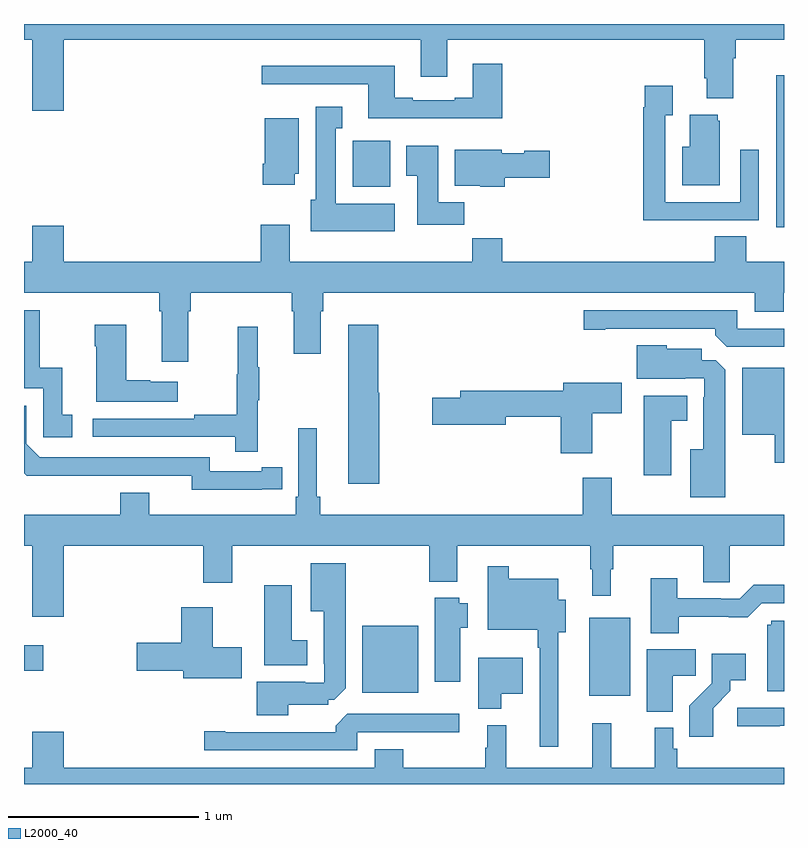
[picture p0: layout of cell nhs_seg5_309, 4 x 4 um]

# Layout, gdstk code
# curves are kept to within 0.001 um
import gdstk
lib = gdstk.Library(unit=1e-6, precision=1e-09)
def R(c, l, rs):  # rectangles x0, y0, x1, y1
    for r in rs: c.add(gdstk.rectangle(r[:2], r[2:], *l))
def P(c, l, *ps):  # polygons
    for p in ps: c.add(gdstk.Polygon(p, *l))
L2000_40 = (2000, 40)

nhs_seg5_309 = lib.new_cell('nhs_seg5_309')
R(nhs_seg5_309, L2000_40, [(131.975,897.263,132.19,897.673), (130.781,897.278,131.074,897.631), (129,897.395,129.102,897.529), (130.73,899.942,130.927,900.184)])
P(nhs_seg5_309, L2000_40, [(129.208,900.716),(131.087,900.716),(131.087,900.522),(131.227,900.522),(131.227,900.716),(132.581,900.716),(132.581,900.514),(132.593,900.514),(132.593,900.407),(132.733,900.407),(132.733,900.62),(132.746,900.62),(132.746,900.716),(133,900.716),(133,900.799),(129,900.799),(129,900.716),(129.044,900.716),(129.044,900.342),(129.208,900.342)],
  [(131.516,900.589),(131.363,900.589),(131.363,900.412),(131.267,900.412),(131.267,900.399),(131.047,900.399),(131.047,900.412),(130.951,900.412),(130.951,900.58),(130.251,900.58),(130.251,900.483),(130.811,900.483),(130.811,900.302),(131.516,900.302)],
  [(133,900.53),(132.958,900.53),(132.958,900.223),(132.96,900.223),(132.96,899.73),(133,899.73)],
  [(132.551,899.766),(132.867,899.766),(132.867,900.136),(132.771,900.136),(132.771,899.862),(132.375,899.862),(132.375,900.319),(132.415,900.319),(132.415,900.475),(132.267,900.475),(132.267,900.362),(132.259,900.362),(132.259,899.765),(132.551,899.765)],
  [(130.951,899.854),(130.642,899.854),(130.642,900.251),(130.675,900.251),(130.675,900.364),(130.535,900.364),(130.535,899.874),(130.508,899.874),(130.508,899.708),(130.951,899.708)],
  [(132.661,900.291),(132.65,900.291),(132.65,900.322),(132.503,900.322),(132.503,900.154),(132.464,900.154),(132.464,899.951),(132.661,899.951)],
  [(130.426,900.012),(130.447,900.012),(130.447,900.304),(130.268,900.304),(130.268,900.064),(130.256,900.064),(130.256,899.952),(130.426,899.952)],
  [(131.318,899.86),(131.179,899.86),(131.179,900.157),(131.012,900.157),(131.012,900.001),(131.069,900.001),(131.069,899.742),(131.318,899.742)],
  [(131.531,899.989),(131.767,899.989),(131.767,900.131),(131.634,900.131),(131.634,900.118),(131.514,900.118),(131.514,900.136),(131.267,900.136),(131.267,899.948),(131.4,899.948),(131.4,899.942),(131.531,899.942)],
  [(129.865,899.288),(129.878,899.288),(129.878,899.384),(130.409,899.384),(130.409,899.288),(130.421,899.288),(130.421,899.064),(130.561,899.064),(130.561,899.288),(130.574,899.288),(130.574,899.384),(132.845,899.384),(132.845,899.285),(132.998,899.285),(132.998,899.384),(133,899.384),(133,899.548),(132.8,899.548),(132.8,899.681),(132.635,899.681),(132.635,899.548),(131.516,899.548),(131.516,899.672),(131.359,899.672),(131.359,899.548),(130.399,899.548),(130.399,899.743),(130.247,899.743),(130.247,899.548),(129.208,899.548),(129.208,899.737),(129.044,899.737),(129.044,899.548),(129,899.548),(129,899.384),(129.713,899.384),(129.713,899.288),(129.725,899.288),(129.725,899.022),(129.865,899.022)],
  [(133,899.196),(132.753,899.196),(132.753,899.292),(131.946,899.292),(131.946,899.191),(132.058,899.191),(132.058,899.196),(132.638,899.196),(132.638,899.162),(132.699,899.1),(133,899.1)],
  [(129.253,898.743),(129.2,898.743),(129.2,898.99),(129.082,898.99),(129.082,899.292),(129,899.292),(129,898.881),(129.102,898.881),(129.102,898.623),(129.253,898.623)],
  [(130.87,898.857),(130.864,898.857),(130.864,899.215),(130.706,899.215),(130.706,898.38),(130.87,898.38)],
  [(129.808,898.915),(129.665,898.915),(129.665,898.925),(129.538,898.925),(129.538,899.215),(129.373,899.215),(129.373,899.102),(129.38,899.102),(129.38,898.811),(129.808,898.811)],
  [(130.229,898.819),(130.239,898.819),(130.239,898.993),(130.229,898.993),(130.229,899.206),(130.126,899.206),(130.126,898.956),(130.119,898.956),(130.119,898.742),(129.895,898.742),(129.895,898.722),(129.363,898.722),(129.363,898.626),(130.111,898.626),(130.111,898.548),(130.229,898.548)],
  [(132.691,898.979),(132.642,899.028),(132.568,899.028),(132.568,899.089),(132.384,899.089),(132.384,899.107),(132.224,899.107),(132.224,898.931),(132.479,898.931),(132.479,898.935),(132.579,898.935),(132.579,898.835),(132.575,898.835),(132.575,898.561),(132.506,898.561),(132.506,898.307),(132.691,898.307)],
  [(133,898.99),(132.779,898.99),(132.779,898.637),(132.95,898.637),(132.95,898.491),(133,898.491)],
  [(131.992,898.75),(132.145,898.75),(132.145,898.912),(131.837,898.912),(131.837,898.868),(131.297,898.868),(131.297,898.832),(131.148,898.832),(131.148,898.69),(131.536,898.69),(131.536,898.732),(131.825,898.732),(131.825,898.539),(131.992,898.539)],
  [(132.406,898.712),(132.49,898.712),(132.49,898.843),(132.263,898.843),(132.263,898.425),(132.406,898.425)],
  [(130.25,898.35),(130.358,898.35),(130.358,898.466),(130.25,898.466),(130.25,898.446),(129.978,898.446),(129.978,898.518),(129.084,898.518),(129.012,898.59),(129.012,898.791),(129,898.791),(129,898.435),(129.014,898.421),(129.882,898.422),(129.882,898.349)],
  [(130.443,898.672),(130.443,898.312),(130.43,898.312),(130.43,898.216),(129.658,898.216),(129.658,898.333),(129.506,898.333),(129.506,898.216),(129,898.216),(129,898.052),(129.044,898.052),(129.044,897.678),(129.208,897.678),(129.208,898.052),(129.944,898.052),(129.944,897.858),(130.096,897.858),(130.096,898.052),(131.134,898.052),(131.134,897.863),(131.281,897.863),(131.281,898.052),(131.979,898.052),(131.979,897.929),(131.99,897.929),(131.99,897.789),(132.089,897.789),(132.089,897.929),(132.1,897.929),(132.1,898.052),(132.575,898.052),(132.575,897.862),(132.714,897.862),(132.714,898.052),(133,898.052),(133,898.216),(132.094,898.216),(132.094,898.411),(131.942,898.411),(131.942,898.216),(130.559,898.216),(130.559,898.312),(130.54,898.312),(130.54,898.672)],
  [(130.39,897.215),(130.602,897.215),(130.602,897.243),(130.633,897.243),(130.693,897.303),(130.693,897.961),(130.508,897.961),(130.508,897.707),(130.577,897.707),(130.577,897.433),(130.581,897.433),(130.581,897.333),(130.481,897.333),(130.481,897.337),(130.226,897.337),(130.226,897.161),(130.39,897.161)],
  [(131.812,897.599),(131.851,897.599),(131.851,897.769),(131.812,897.769),(131.812,897.88),(131.551,897.88),(131.551,897.946),(131.442,897.946),(131.442,897.611),(131.703,897.611),(131.703,897.515),(131.715,897.515),(131.715,896.994),(131.812,896.994)],
  [(132.447,897.678),(132.809,897.677),(132.882,897.75),(133,897.75),(133,897.847),(132.841,897.847),(132.768,897.774),(132.668,897.774),(132.668,897.777),(132.439,897.777),(132.439,897.883),(132.299,897.883),(132.299,897.593),(132.447,897.593)],
  [(130.492,897.556),(130.408,897.556),(130.408,897.844),(130.265,897.844),(130.265,897.425),(130.492,897.425)],
  [(131.296,897.622),(131.335,897.622),(131.335,897.751),(131.292,897.751),(131.292,897.778),(131.162,897.778),(131.162,897.336),(131.296,897.336)],
  [(130.147,897.519),(129.994,897.519),(129.994,897.73),(129.827,897.73),(129.827,897.542),(129.594,897.542),(129.594,897.395),(129.839,897.395),(129.839,897.356),(130.147,897.356)],
  [(133,897.657),(132.933,897.657),(132.933,897.636),(132.911,897.636),(132.911,897.288),(133,897.288)],
  [(132.415,897.37),(132.536,897.37),(132.536,897.508),(132.278,897.508),(132.278,897.179),(132.415,897.179)],
  [(132.628,897.199),(132.718,897.289),(132.718,897.344),(132.799,897.344),(132.799,897.484),(132.621,897.484),(132.621,897.329),(132.502,897.21),(132.502,897.048),(132.628,897.048)],
  [(131.512,897.275),(131.626,897.275),(131.626,897.463),(131.39,897.463),(131.39,897.194),(131.512,897.194)],
  [(132.977,897.105),(133,897.105),(133,897.201),(132.753,897.201),(132.753,897.103),(132.977,897.103)],
  [(130.755,897.072),(131.29,897.072),(131.29,897.168),(130.701,897.168),(130.64,897.106),(130.64,897.072),(130.06,897.072),(130.06,897.077),(129.948,897.077),(129.948,896.976),(130.755,896.976)],
  [(133,896.884),(132.437,896.884),(132.437,896.985),(132.417,896.985),(132.417,897.094),(132.319,897.094),(132.319,896.884),(132.09,896.884),(132.09,897.118),(131.99,897.118),(131.99,896.884),(131.537,896.884),(131.537,897.109),(131.438,897.109),(131.438,896.991),(131.427,896.991),(131.427,896.884),(130.995,896.884),(130.995,896.983),(130.847,896.983),(130.847,896.884),(129.208,896.884),(129.208,897.073),(129.044,897.073),(129.044,896.884),(129,896.884),(129,896.799),(133,896.799)])

lib.write_gds('nhs_seg5_309.gds')
